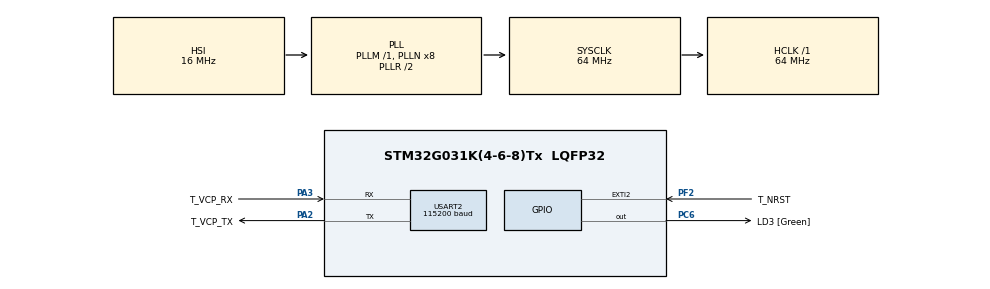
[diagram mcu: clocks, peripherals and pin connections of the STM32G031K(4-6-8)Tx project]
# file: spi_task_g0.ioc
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Dma.Request0=USART2_RX
Dma.USART2_RX.0.Direction=DMA_PERIPH_TO_MEMORY
Dma.USART2_RX.0.EventEnable=DISABLE
Dma.USART2_RX.0.Instance=DMA1_Channel1
Dma.USART2_RX.0.MemDataAlignment=DMA_MDATAALIGN_BYTE
Dma.USART2_RX.0.MemInc=DMA_MINC_ENABLE
Dma.USART2_RX.0.Mode=DMA_NORMAL
Dma.USART2_RX.0.PeriphDataAlignment=DMA_PDATAALIGN_BYTE
Dma.USART2_RX.0.PeriphInc=DMA_PINC_DISABLE
Dma.USART2_RX.0.Polarity=HAL_DMAMUX_REQ_GEN_RISING
Dma.USART2_RX.0.Priority=DMA_PRIORITY_LOW
Dma.USART2_RX.0.RequestNumber=1
Dma.USART2_RX.0.SignalID=NONE
Dma.USART2_RX.0.SyncEnable=DISABLE
Dma.USART2_RX.0.SyncPolarity=HAL_DMAMUX_SYNC_NO_EVENT
Dma.USART2_RX.0.SyncRequestNumber=1
Dma.USART2_RX.0.SyncSignalID=NONE
FREERTOS.BinarySemaphores01=myFlagNewString,Static,myFlagNewStringHandleControlBlock
FREERTOS.CountingSemaphores01=myCountNewCmd,8,Static,myCountNewCmdControlBlock
FREERTOS.HEAP_NUMBER=4
FREERTOS.Queues01=myRxQueue,16,uint8_t,0,Static,myRxQueueBuffer,myRxQueueControlBlock;myTxQueue,64,uint8_t,0,Static,myTxQueueBuffer,myTxQueueControlBlock;myCmdLineObjQueue,1,64,1,Static,myCmdLineObjQueueBuffer,myCmdLineObjQueueBlock
FREERTOS.Tasks01=defaultTask,24,128,StartDefaultTask,Default,NULL,Static,defaultTaskBuffer,defaultTaskControlBlock;myTxTask,8,128,StartTxTask,Default,NULL,Static,myTxTaskBuffer,myTxTaskControlBlock;myRxTask,8,128,StartRxTask,Default,NULL,Static,myRxTaskBuffer,myRxTaskControlBlock
FREERTOS.configCHECK_FOR_STACK_OVERFLOW=2
FREERTOS.configIDLE_SHOULD_YIELD=0
FREERTOS.configMINIMAL_STACK_SIZE=128
FREERTOS.configTIMER_TASK_STACK_DEPTH=128
FREERTOS.configTOTAL_HEAP_SIZE=1280
FREERTOS.configUSE_OS2_EVENTFLAGS_FROM_ISR=0
FREERTOS.configUSE_OS2_MUTEX=0
FREERTOS.configUSE_OS2_THREAD_ENUMERATE=0
FREERTOS.configUSE_OS2_THREAD_FLAGS=0
FREERTOS.configUSE_OS2_THREAD_SUSPEND_RESUME=0
FREERTOS.configUSE_OS2_TIMER=0
FREERTOS.configUSE_PREEMPTION=0
FREERTOS.configUSE_TRACE_FACILITY=0
Mcu.Family=STM32G0
Mcu.Name=STM32G031K(4-6-8)Tx
Mcu.Package=LQFP32
NVIC.DMA1_Channel1_IRQn=true\:3\:0\:false\:false\:true\:true\:false\:true
NVIC.TIM14_IRQn=true\:3\:0\:false\:false\:true\:true\:true\:true
NVIC.TIM16_IRQn=true\:0\:0\:false\:false\:true\:false\:false\:true
NVIC.TimeBase=TIM16_IRQn
NVIC.TimeBaseIP=TIM16
NVIC.USART2_IRQn=true\:3\:0\:false\:false\:true\:true\:true\:true
PA13.GPIO_Label=T_JTMS
PA13.Mode=Serial_Wire
PA13.Signal=SYS_SWDIO
PA14-BOOT0.GPIO_Label=T_JTCK
PA14-BOOT0.Mode=Serial_Wire
PA14-BOOT0.Signal=SYS_SWCLK
PA15.Signal=SPI1_NSS
PA2.GPIO_Label=T_VCP_TX
PA2.GPIO_PuPd=GPIO_PULLUP
PA2.Mode=Asynchronous
PA2.Signal=USART2_TX
PA3.GPIO_Label=T_VCP_RX
PA3.GPIO_PuPd=GPIO_PULLUP
PA3.Mode=Asynchronous
PA3.Signal=USART2_RX
PB3.Signal=SPI1_SCK
PB4.Signal=SPI1_MISO
PB5.Signal=SPI1_MOSI
PC14-OSC32_IN\ (PC14).Mode=LSE-External-Oscillator
PC14-OSC32_IN\ (PC14).Signal=RCC_OSC32_IN
PC15-OSC32_OUT\ (PC15).Mode=LSE-External-Oscillator
PC15-OSC32_OUT\ (PC15).Signal=RCC_OSC32_OUT
PC6.GPIO_Label=LD3 [Green]
PC6.Signal=GPIO_Output
PF2\ -\ NRST.GPIO_Label=T_NRST
PF2\ -\ NRST.Signal=GPXTI2
ProjectManager.HeapSize=0x200
ProjectManager.StackSize=0x400
ProjectManager.TargetToolchain=STM32CubeIDE
RCC.ADCFreq_Value=64000000
RCC.AHBFreq_Value=64000000
RCC.CortexFreq_Value=64000000
RCC.EXTERNAL_CLOCK_VALUE=12288000
RCC.HCLKFreq_Value=64000000
RCC.HSE_VALUE=8000000
RCC.HSI_VALUE=16000000
RCC.SYSCLKFreq_VALUE=64000000
RCC.SYSCLKSource=RCC_SYSCLKSOURCE_PLLCLK
RCC.VCOOutputFreq_Value=128000000
TIM14.AutoReloadPreload=TIM_AUTORELOAD_PRELOAD_ENABLE
USART2.BaudRate=115200
USART2.VirtualMode-Asynchronous=VM_ASYNC
USART2.WordLength=WORDLENGTH_8B
VP_FREERTOS_VS_CMSIS_V2.Mode=CMSIS_V2
VP_RTC_VS_RTC_Activate.Mode=RTC_Enabled
VP_RTC_VS_RTC_Calendar.Mode=RTC_Calendar
VP_SYS_VS_tim16.Mode=TIM16
VP_TIM14_VS_ClockSourceINT.Mode=Enable_Timer
board=NUCLEO-G031K8

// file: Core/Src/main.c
/* USER CODE BEGIN Header */
/**
  ******************************************************************************
  * @file           : main.c
  * @brief          : Main program body
  ******************************************************************************
  * @attention
  *
  * <h2><center>&copy; Copyright (c) 2021 STMicroelectronics.
  * All rights reserved.</center></h2>
  *
  * This software component is licensed by ST under BSD 3-Clause license,
  * the "License"; You may not use this file except in compliance with the
  * License. You may obtain a copy of the License at:
  *                        opensource.org/licenses/BSD-3-Clause
  *
  ******************************************************************************
  */
/* USER CODE END Header */
#include "main.h"
#include "cmsis_os.h"
#include "dma.h"
#include "rtc.h"
#include "tim.h"
#include "usart.h"
#include "gpio.h"

void SystemClock_Config(void);
void MX_FREERTOS_Init(void);

int main(void)
{

  /* MCU Configuration--------------------------------------------------------*/

  /* Reset of all peripherals, Initializes the Flash interface and the Systick. */
  HAL_Init();

  /* Configure the system clock */
  SystemClock_Config();

  /* Initialize all configured peripherals */
  MX_GPIO_Init();
  MX_DMA_Init();
  MX_USART2_UART_Init();
  MX_RTC_Init();
  MX_TIM14_Init();

  /* Init scheduler */
  osKernelInitialize();  /* Call init function for freertos objects (in freertos.c) */
  MX_FREERTOS_Init();
  /* Start scheduler */
  osKernelStart();

  /* We should never get here as control is now taken by the scheduler */
  /* Infinite loop */
  while (1)
  {

  }
}

void SystemClock_Config(void)
{
  RCC_OscInitTypeDef RCC_OscInitStruct = {0};
  RCC_ClkInitTypeDef RCC_ClkInitStruct = {0};
  RCC_PeriphCLKInitTypeDef PeriphClkInit = {0};

  /** Configure the main internal regulator output voltage
  */
  HAL_PWREx_ControlVoltageScaling(PWR_REGULATOR_VOLTAGE_SCALE1);
  /** Initializes the RCC Oscillators according to the specified parameters
  * in the RCC_OscInitTypeDef structure.
  */
  RCC_OscInitStruct.OscillatorType = RCC_OSCILLATORTYPE_HSI|RCC_OSCILLATORTYPE_LSI;
  RCC_OscInitStruct.HSIState = RCC_HSI_ON;
  RCC_OscInitStruct.HSIDiv = RCC_HSI_DIV1;
  RCC_OscInitStruct.HSICalibrationValue = RCC_HSICALIBRATION_DEFAULT;
  RCC_OscInitStruct.LSIState = RCC_LSI_ON;
  RCC_OscInitStruct.PLL.PLLState = RCC_PLL_ON;
  RCC_OscInitStruct.PLL.PLLSource = RCC_PLLSOURCE_HSI;
  RCC_OscInitStruct.PLL.PLLM = RCC_PLLM_DIV1;
  RCC_OscInitStruct.PLL.PLLN = 8;
  RCC_OscInitStruct.PLL.PLLP = RCC_PLLP_DIV2;
  RCC_OscInitStruct.PLL.PLLQ = RCC_PLLQ_DIV2;
  RCC_OscInitStruct.PLL.PLLR = RCC_PLLR_DIV2;
  if (HAL_RCC_OscConfig(&RCC_OscInitStruct) != HAL_OK)
  {
    Error_Handler();
  }
  /** Initializes the CPU, AHB and APB buses clocks
  */
  RCC_ClkInitStruct.ClockType = RCC_CLOCKTYPE_HCLK|RCC_CLOCKTYPE_SYSCLK
                              |RCC_CLOCKTYPE_PCLK1;
  RCC_ClkInitStruct.SYSCLKSource = RCC_SYSCLKSOURCE_PLLCLK;
  RCC_ClkInitStruct.AHBCLKDivider = RCC_SYSCLK_DIV1;
  RCC_ClkInitStruct.APB1CLKDivider = RCC_HCLK_DIV1;

  if (HAL_RCC_ClockConfig(&RCC_ClkInitStruct, FLASH_LATENCY_2) != HAL_OK)
  {
    Error_Handler();
  }
  /** Initializes the peripherals clocks
  */
  PeriphClkInit.PeriphClockSelection = RCC_PERIPHCLK_RTC;
  PeriphClkInit.RTCClockSelection = RCC_RTCCLKSOURCE_LSI;

  if (HAL_RCCEx_PeriphCLKConfig(&PeriphClkInit) != HAL_OK)
  {
    Error_Handler();
  }
}

 /**
  * @brief  Period elapsed callback in non blocking mode
  * @note   This function is called  when TIM16 interrupt took place, inside
  * HAL_TIM_IRQHandler(). It makes a direct call to HAL_IncTick() to increment
  * a global variable "uwTick" used as application time base.
  * @param  htim : TIM handle
  * @retval None
  */
void HAL_TIM_PeriodElapsedCallback(TIM_HandleTypeDef *htim)
{
  if (htim->Instance == TIM16) {
    HAL_IncTick();
  }
}

void Error_Handler(void)
{
  __disable_irq();
  while (1)
  {
  }
}

/************************ (C) COPYRIGHT STMicroelectronics *****END OF FILE****/

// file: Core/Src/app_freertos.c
/* USER CODE BEGIN Header */
/* USER CODE END Header */

#include "FreeRTOS.h"
#include "task.h"
#include "main.h"
#include "cmsis_os.h"

/* USER CODE BEGIN Includes */
#include "usart.h"
#include "terminal.h"
#include "datatypes.h"
#include "string.h"
/* USER CODE END Includes */

typedef StaticTask_t osStaticThreadDef_t;
typedef StaticQueue_t osStaticMessageQDef_t;
typedef StaticSemaphore_t osStaticSemaphoreDef_t;

/* Definitions for defaultTask */
osThreadId_t defaultTaskHandle;
uint32_t defaultTaskBuffer[ 128 ];
osStaticThreadDef_t defaultTaskControlBlock;
const osThreadAttr_t defaultTask_attributes = {
  .name = "defaultTask",
  .stack_mem = &defaultTaskBuffer[0],
  .stack_size = sizeof(defaultTaskBuffer),
  .cb_mem = &defaultTaskControlBlock,
  .cb_size = sizeof(defaultTaskControlBlock),
  .priority = (osPriority_t) osPriorityNormal,
};
/* Definitions for myTxTask */
osThreadId_t myTxTaskHandle;
uint32_t myTxTaskBuffer[ 128 ];
osStaticThreadDef_t myTxTaskControlBlock;
const osThreadAttr_t myTxTask_attributes = {
  .name = "myTxTask",
  .stack_mem = &myTxTaskBuffer[0],
  .stack_size = sizeof(myTxTaskBuffer),
  .cb_mem = &myTxTaskControlBlock,
  .cb_size = sizeof(myTxTaskControlBlock),
  .priority = (osPriority_t) osPriorityLow,
};
/* Definitions for myRxTask */
osThreadId_t myRxTaskHandle;
uint32_t myRxTaskBuffer[ 128 ];
osStaticThreadDef_t myRxTaskControlBlock;
const osThreadAttr_t myRxTask_attributes = {
  .name = "myRxTask",
  .stack_mem = &myRxTaskBuffer[0],
  .stack_size = sizeof(myRxTaskBuffer),
  .cb_mem = &myRxTaskControlBlock,
  .cb_size = sizeof(myRxTaskControlBlock),
  .priority = (osPriority_t) osPriorityLow,
};
/* Definitions for myRxQueue */
osMessageQueueId_t myRxQueueHandle;
uint8_t myRxQueueBuffer[ 16 * sizeof( uint8_t ) ];
osStaticMessageQDef_t myRxQueueControlBlock;
const osMessageQueueAttr_t myRxQueue_attributes = {
  .name = "myRxQueue",
  .cb_mem = &myRxQueueControlBlock,
  .cb_size = sizeof(myRxQueueControlBlock),
  .mq_mem = &myRxQueueBuffer,
  .mq_size = sizeof(myRxQueueBuffer)
};
/* Definitions for myTxQueue */
osMessageQueueId_t myTxQueueHandle;
uint8_t myTxQueueBuffer[ 64 * sizeof( uint8_t ) ];
osStaticMessageQDef_t myTxQueueControlBlock;
const osMessageQueueAttr_t myTxQueue_attributes = {
  .name = "myTxQueue",
  .cb_mem = &myTxQueueControlBlock,
  .cb_size = sizeof(myTxQueueControlBlock),
  .mq_mem = &myTxQueueBuffer,
  .mq_size = sizeof(myTxQueueBuffer)
};
/* Definitions for myCmdLineObjQueue */
osMessageQueueId_t myCmdLineObjQueueHandle;
uint8_t myCmdLineObjQueueBuffer[ 1 * 64 ];
osStaticMessageQDef_t myCmdLineObjQueueBlock;
const osMessageQueueAttr_t myCmdLineObjQueue_attributes = {
  .name = "myCmdLineObjQueue",
  .cb_mem = &myCmdLineObjQueueBlock,
  .cb_size = sizeof(myCmdLineObjQueueBlock),
  .mq_mem = &myCmdLineObjQueueBuffer,
  .mq_size = sizeof(myCmdLineObjQueueBuffer)
};
/* Definitions for myFlagNewString */
osSemaphoreId_t myFlagNewStringHandle;
osStaticSemaphoreDef_t myFlagNewStringHandleControlBlock;
const osSemaphoreAttr_t myFlagNewString_attributes = {
  .name = "myFlagNewString",
  .cb_mem = &myFlagNewStringHandleControlBlock,
  .cb_size = sizeof(myFlagNewStringHandleControlBlock),
};
/* Definitions for myCountNewCmd */
osSemaphoreId_t myCountNewCmdHandle;
osStaticSemaphoreDef_t myCountNewCmdControlBlock;
const osSemaphoreAttr_t myCountNewCmd_attributes = {
  .name = "myCountNewCmd",
  .cb_mem = &myCountNewCmdControlBlock,
  .cb_size = sizeof(myCountNewCmdControlBlock),
};

void StartDefaultTask(void *argument);
void StartTxTask(void *argument);
void StartRxTask(void *argument);

void MX_FREERTOS_Init(void); /* (MISRA C 2004 rule 8.1) */

/* Hook prototypes */
void vApplicationStackOverflowHook(xTaskHandle xTask, signed char *pcTaskName);

/* USER CODE BEGIN 4 */
void vApplicationStackOverflowHook(xTaskHandle xTask, signed char *pcTaskName)
{
   /* Run time stack overflow checking is performed if
   configCHECK_FOR_STACK_OVERFLOW is defined to 1 or 2. This hook function is
   called if a stack overflow is detected. */
}
/* USER CODE END 4 */

void MX_FREERTOS_Init(void) {

  /* Create the semaphores(s) */
  /* creation of myFlagNewString */
  myFlagNewStringHandle = osSemaphoreNew(1, 1, &myFlagNewString_attributes);

  /* creation of myCountNewCmd */
  myCountNewCmdHandle = osSemaphoreNew(8, 8, &myCountNewCmd_attributes);

  /* Create the queue(s) */
  /* creation of myRxQueue */
  myRxQueueHandle = osMessageQueueNew (16, sizeof(uint8_t), &myRxQueue_attributes);

  /* creation of myTxQueue */
  myTxQueueHandle = osMessageQueueNew (64, sizeof(uint8_t), &myTxQueue_attributes);

  /* creation of myCmdLineObjQueue */
  myCmdLineObjQueueHandle = osMessageQueueNew (1, 64, &myCmdLineObjQueue_attributes);

  /* Create the thread(s) */
  /* creation of defaultTask */
  defaultTaskHandle = osThreadNew(StartDefaultTask, NULL, &defaultTask_attributes);

  /* creation of myTxTask */
  myTxTaskHandle = osThreadNew(StartTxTask, NULL, &myTxTask_attributes);

  /* creation of myRxTask */
  myRxTaskHandle = osThreadNew(StartRxTask, NULL, &myRxTask_attributes);

}

void StartDefaultTask(void *argument)
{
  /* USER CODE BEGIN StartDefaultTask */
for (;;)
{
	HAL_UART_Receive_DMA(HUART, (uint8_t*) &readbyte, 1);
	term_qPrintf(myTxQueueHandle, "hallo welt!");
	osDelay(250);
}

  /* USER CODE END StartDefaultTask */
}

void StartTxTask(void *argument)
{
  /* USER CODE BEGIN StartTxTask */

	    /* Infinite loop */
	    for (;;)

		{
		//term_lol_sendQueue(myTxQueueHandle);
		osStatus val;

		uint8_t lReceivedValue=0;

		val = osMessageQueueGet(myTxQueueHandle, &lReceivedValue, 0, 100);

		switch (val)
		    {
		    case osOK:	HAL_UART_Transmit(&huart2, &lReceivedValue, 1, 199);
		    }

		//xQueueReceive(myTxQueueHandle, &lReceivedValue, 0);

		}

  /* USER CODE END StartTxTask */
}

void StartRxTask(void *argument)
{
  /* USER CODE BEGIN StartRxTask */

    BaseType_t xStatus;
    /* Infinite loop */
    for (;;)
	{
	if( xSemaphoreTake( myFlagNewStringHandle, 0)==pdPASS)
	     {
	    int ItemsLeft = uxQueueMessagesWaiting( myRxQueueHandle);

	    if (ItemsLeft)
		{
		TD_LINEOBJ lobj;
		char rxbuff[ ItemsLeft];

		memset(rxbuff,'\0',ItemsLeft);

		for (int var = 0; var < ItemsLeft; ++var)
		    {
		    uint8_t pvBuffer=0;

		    xQueueReceive( myRxQueueHandle, &pvBuffer, 0);

		    rxbuff[ var ] = pvBuffer;

		    }
		rxbuff[ ItemsLeft-1 ] = '\0';

		dbase_Make( &lobj, strdup("cmd"), strdup(rxbuff), 0, 0, 0, 0);

		xStatus = dBase_StoreQueue( myCmdLineObjQueueHandle, &lobj );

		xSemaphoreGive(myCountNewCmdHandle);

		}
	    }

	osDelay(1);
	}
    //
  /* USER CODE END StartRxTask */
}

/************************ (C) COPYRIGHT STMicroelectronics *****END OF FILE****/
